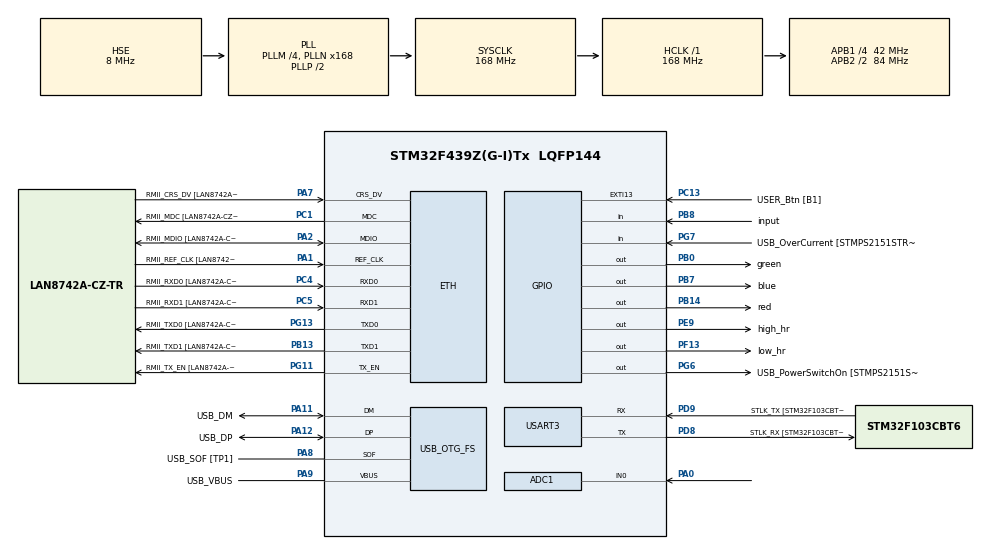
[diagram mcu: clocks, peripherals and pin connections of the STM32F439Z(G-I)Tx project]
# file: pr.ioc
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ADC1.Channel-0\#ChannelRegularConversion=ADC_CHANNEL_0
ADC1.ContinuousConvMode=ENABLE
ADC1.NbrOfConversionFlag=1
ADC1.Rank-0\#ChannelRegularConversion=1
ADC1.SamplingTime-0\#ChannelRegularConversion=ADC_SAMPLETIME_3CYCLES
ADC1.master=1
ETH.MediaInterface=HAL_ETH_RMII_MODE
ETH.PHY_Name=LAN8742A_PHY_ADDRESS
ETH.PHY_Value=0
ETH.PhyAddress=0
Mcu.Family=STM32F4
Mcu.Name=STM32F439Z(G-I)Tx
Mcu.Package=LQFP144
NVIC.OTG_FS_IRQn=true\:0\:0\:false\:false\:true\:false\:true\:true
NVIC.PriorityGroup=NVIC_PRIORITYGROUP_4
PA0/WKUP.Signal=ADCx_IN0
PA1.GPIO_Label=RMII_REF_CLK [LAN8742A-CZ-TR_REFCLK0]
PA1.Mode=RMII
PA1.Signal=ETH_REF_CLK
PA10.GPIO_Label=USB_ID
PA10.Signal=USB_OTG_FS_ID
PA11.GPIO_Label=USB_DM
PA11.Mode=Device_Only
PA11.Signal=USB_OTG_FS_DM
PA12.GPIO_Label=USB_DP
PA12.Mode=Device_Only
PA12.Signal=USB_OTG_FS_DP
PA13.GPIO_Label=TMS
PA13.Mode=Serial_Wire
PA13.Signal=SYS_JTMS-SWDIO
PA14.GPIO_Label=TCK
PA14.Mode=Serial_Wire
PA14.Signal=SYS_JTCK-SWCLK
PA2.GPIO_Label=RMII_MDIO [LAN8742A-CZ-TR_MDIO]
PA2.Mode=RMII
PA2.Signal=ETH_MDIO
PA7.GPIO_Label=RMII_CRS_DV [LAN8742A-CZ-TR_CRS_DV]
PA7.Mode=RMII
PA7.Signal=ETH_CRS_DV
PA8.GPIO_Label=USB_SOF [TP1]
PA8.Mode=Activate_SOF_FS
PA8.Signal=USB_OTG_FS_SOF
PA9.GPIO_Label=USB_VBUS
PA9.Mode=Activate_VBUS
PA9.Signal=USB_OTG_FS_VBUS
PB0.GPIO_Label=green
PB0.Signal=GPIO_Output
PB13.GPIO_Label=RMII_TXD1 [LAN8742A-CZ-TR_TXD1]
PB13.Mode=RMII
PB13.Signal=ETH_TXD1
PB14.GPIO_Label=red
PB14.Signal=GPIO_Output
PB7.GPIO_Label=blue
PB7.Signal=GPIO_Output
PB8.GPIO_Label=input
PB8.GPIO_PuPd=GPIO_PULLDOWN
PB8.Signal=GPIO_Input
PC1.GPIO_Label=RMII_MDC [LAN8742A-CZ-TR_MDC]
PC1.Mode=RMII
PC1.Signal=ETH_MDC
PC13.GPIO_Label=USER_Btn [B1]
PC13.Signal=GPXTI13
PC14/OSC32_IN.Mode=LSE-External-Oscillator
PC14/OSC32_IN.Signal=RCC_OSC32_IN
PC15/OSC32_OUT.Mode=LSE-External-Oscillator
PC15/OSC32_OUT.Signal=RCC_OSC32_OUT
PC4.GPIO_Label=RMII_RXD0 [LAN8742A-CZ-TR_RXD0]
PC4.Mode=RMII
PC4.Signal=ETH_RXD0
PC5.GPIO_Label=RMII_RXD1 [LAN8742A-CZ-TR_RXD1]
PC5.Mode=RMII
PC5.Signal=ETH_RXD1
PD8.GPIO_Label=STLK_RX [STM32F103CBT6_PA3]
PD8.Mode=Asynchronous
PD8.Signal=USART3_TX
PD9.GPIO_Label=STLK_TX [STM32F103CBT6_PA2]
PD9.Mode=Asynchronous
PD9.Signal=USART3_RX
PE9.GPIO_Label=high_hr
PE9.GPIO_PuPd=GPIO_PULLDOWN
PE9.Signal=GPIO_Output
PF13.GPIO_Label=low_hr
PF13.GPIO_PuPd=GPIO_PULLDOWN
PF13.Signal=GPIO_Output
PG11.GPIO_Label=RMII_TX_EN [LAN8742A-CZ-TR_TXEN]
PG11.Mode=RMII
PG11.Signal=ETH_TX_EN
PG13.GPIO_Label=RMII_TXD0 [LAN8742A-CZ-TR_TXD0]
PG13.Mode=RMII
PG13.Signal=ETH_TXD0
PG6.GPIO_Label=USB_PowerSwitchOn [STMPS2151STR_EN]
PG6.Signal=GPIO_Output
PG7.GPIO_Label=USB_OverCurrent [STMPS2151STR_FAULT]
PG7.Signal=GPIO_Input
PH0/OSC_IN.GPIO_Label=MCO [STM32F103CBT6_PA8]
PH0/OSC_IN.Mode=HSE-External-Clock-Source
PH0/OSC_IN.Signal=RCC_OSC_IN
PH1/OSC_OUT.Mode=HSE-External-Clock-Source
PH1/OSC_OUT.Signal=RCC_OSC_OUT
ProjectManager.HeapSize=0x200
ProjectManager.StackSize=0x400
ProjectManager.TargetToolchain=STM32CubeIDE
RCC.48MHZClocksFreq_Value=48000000
RCC.AHBFreq_Value=168000000
RCC.APB1CLKDivider=RCC_HCLK_DIV4
RCC.APB1Freq_Value=42000000
RCC.APB1TimFreq_Value=84000000
RCC.APB2CLKDivider=RCC_HCLK_DIV2
RCC.APB2Freq_Value=84000000
RCC.APB2TimCLKDivider=2
RCC.APB2TimFreq_Value=168000000
RCC.CortexFreq_Value=168000000
RCC.HCLKFreq_Value=168000000
RCC.HSE_VALUE=8000000
RCC.HSI_VALUE=16000000
RCC.PLLM=4
RCC.PLLMUL=RCC_PLL_MUL9
RCC.PLLN=168
RCC.PLLQ=7
RCC.PRESCALERUSB=RCC_USBCLKSOURCE_PLL_DIV1_5
RCC.SYSCLKFreq_VALUE=168000000
RCC.SYSCLKSource=RCC_SYSCLKSOURCE_PLLCLK
RCC.SYSCLKSourceVirtual=RCC_SYSCLKSOURCE_PLLCLK
RCC.USBFreq_Value=48000000
RCC.VCOOutputFreq_Value=336000000
SH.ADCx_IN0.0=ADC1_IN0,IN0
USART3.VirtualMode=VM_ASYNC
USB_DEVICE.CLASS_NAME_FS=CDC
USB_DEVICE.VirtualMode-CDC_FS=Cdc
USB_DEVICE.VirtualModeFS=Cdc_FS
USB_OTG_FS.VirtualMode=Device_Only
VP_USB_DEVICE_VS_USB_DEVICE_CDC_FS.Mode=CDC_FS
board=NUCLEO-F439ZI

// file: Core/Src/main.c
/* USER CODE BEGIN Header */
/**
 **********
 * @file           : main.c
 * @brief          : Main program body
 **********
 * @attention
 *
 * Copyright (c) 2023 STMicroelectronics.
 * All rights reserved.
 *
 * This software is licensed under terms that can be found in the LICENSE file
 * in the root directory of this software component.
 * If no LICENSE file comes with this software, it is provided AS-IS.
 *
 **********
 */
/* USER CODE END Header */
#include "main.h"
#include "string.h"
#include "usb_device.h"

/* USER CODE BEGIN Includes */
#include "usbd_cdc_if.h"
/* USER CODE END Includes */

ETH_TxPacketConfig TxConfig;
ETH_DMADescTypeDef DMARxDscrTab[ETH_RX_DESC_CNT]; /* Ethernet Rx DMA Descriptors */
ETH_DMADescTypeDef DMATxDscrTab[ETH_TX_DESC_CNT]; /* Ethernet Tx DMA Descriptors */

ADC_HandleTypeDef hadc1;

ETH_HandleTypeDef heth;

UART_HandleTypeDef huart3;

/* USER CODE BEGIN PV */
// Define ADC handle and configuration structures
ADC_HandleTypeDef hadc1;
ADC_ChannelConfTypeDef sConfig;
char buffer[10];

/* USER CODE END PV */

void SystemClock_Config(void);
static void MX_GPIO_Init(void);
static void MX_ETH_Init(void);
static void MX_USART3_UART_Init(void);
static void MX_ADC1_Init(void);

/* USER CODE BEGIN 0 */
float mmse(float x, float y, int n) {
	float sum = 0.0, diff;
	diff = x - y;
	return diff * diff;
	return sum / n;
}

/* USER CODE END 0 */

int main(void) {
	/* USER CODE BEGIN 1 */
	// Initialize HAL, clock, ADC and USB
	HAL_Init();
	SystemClock_Config();
	MX_ADC1_Init();
	MX_USB_DEVICE_Init();

	// Start ADC conversion
	HAL_ADC_Start(&hadc1);
	/* USER CODE END 1 */

	/* MCU Configuration--------------------------------------------------------*/

	/* Reset of all peripherals, Initializes the Flash interface and the Systick. */
	HAL_Init();

	/* Configure the system clock */
	SystemClock_Config();

	/* Initialize all configured peripherals */
	MX_GPIO_Init();
	MX_ETH_Init();
	MX_USART3_UART_Init();
	MX_ADC1_Init();
	MX_USB_DEVICE_Init();

	/* Infinite loop */
	/* USER CODE BEGIN WHILE */

	// used for collecting samples from sensor
	float beats[600] = { 0 };

	// heart rate of normal person
	float base[600] = { 80.00, 69.30, 69.00, 70.93, 72.87, 68.40, 71.33, 73.70,
			74.57, 71.80, 73.37, 71.27, 67.37, 69.43, 67.77, 72.60, 74.13,
			71.77, 70.97, 73.47, 71.20, 67.57, 69.93, 68.13, 66.47, 65.87,
			64.83, 64.20, 67.83, 65.90, 66.63, 64.73, 65.63, 65.60, 64.80,
			63.83, 65.43, 64.67, 63.93, 65.70, 66.30, 66.23, 65.00, 66.87,
			66.30, 64.23, 66.70, 66.47, 65.00, 64.57, 65.57, 62.67, 64.23,
			66.47, 62.73, 65.97, 65.63, 66.80, 64.30, 69.97, 64.33, 67.97,
			66.67, 65.40, 65.13, 67.47, 66.03, 64.67, 65.37, 64.77, 65.67,
			64.87, 69.57, 65.77, 64.20, 64.67, 66.77, 65.27, 66.73, 68.20,
			64.33, 65.63, 66.03, 65.23, 67.70, 68.17, 69.63, 67.43, 67.83,
			68.53, 67.90, 67.03, 68.80, 66.70, 66.63, 66.87, 66.07, 66.50,
			70.43, 68.83, 65.80, 66.37, 66.40, 67.70, 72.07, 70.77, 68.90,
			68.57, 67.40, 69.73, 68.13, 72.27, 71.23, 70.50, 69.90, 69.60,
			70.43, 71.20, 73.77, 67.93, 70.53, 70.47, 72.40, 71.67, 73.23,
			71.87, 70.87, 70.40, 72.97, 70.53, 73.23, 72.43, 73.33, 73.43,
			73.10, 74.03, 73.47, 74.33, 75.10, 75.13, 74.17, 75.67, 74.07,
			79.07, 75.07, 76.67, 76.70, 75.50, 77.57, 79.37, 79.10, 75.57,
			78.23, 77.53, 75.83, 76.80, 81.10, 75.43, 77.20, 78.37, 77.13,
			78.57, 81.07, 76.33, 78.40, 78.70, 76.83, 79.87, 79.50, 76.80,
			78.37, 80.50, 80.37, 83.03, 81.63, 80.77, 83.37, 84.00, 81.43,
			84.13, 81.07, 79.33, 78.83, 85.43, 81.07, 83.60, 76.63, 78.80,
			75.57, 76.90, 77.03, 78.50, 77.03, 74.80, 78.70, 76.07, 75.27,
			80.57, 75.37, 76.33, 76.30, 76.17, 75.97, 77.80, 75.80, 77.83,
			78.93, 78.00, 80.57, 82.40, 73.83, 77.80, 80.03, 79.13, 80.60,
			79.93, 77.50, 78.23, 80.13, 80.13, 81.40, 77.60, 76.60, 81.67,
			79.13, 78.03, 80.13, 75.07, 77.80, 75.77, 75.27, 79.07, 81.17,
			85.10, 81.73, 75.00, 74.70, 78.87, 77.47, 74.90, 73.27, 79.57,
			80.17, 82.27, 77.40, 81.20, 80.97, 79.13, 79.97, 83.57, 80.33,
			80.30, 80.73, 80.97, 79.73, 81.90, 78.70, 81.27, 79.27, 79.43,
			81.87, 81.50, 79.33, 78.47, 80.37, 79.63, 81.80, 82.70, 78.00,
			79.77, 80.70, 77.93, 79.83, 83.23, 79.57, 78.40, 81.17, 78.30,
			81.17, 83.00, 79.97, 81.73, 81.07, 82.97, 80.43, 84.33, 79.53,
			80.97, 79.47, 78.77, 80.20, 81.63, 78.87, 79.10, 80.13, 82.17,
			81.37, 78.47, 84.57, 80.33, 82.53, 83.47, 81.57, 81.07, 83.23,
			78.13, 80.57, 80.40, 79.73, 80.57, 83.27, 75.17, 83.00, 81.10,
			74.87, 85.50, 83.93, 77.03, 77.77, 78.80, 76.97, 81.17, 82.17,
			76.13, 82.23, 80.57, 78.73, 81.03, 83.10, 77.07, 79.80, 79.17,
			78.13, 82.03, 81.00, 79.30, 78.17, 78.30, 80.33, 79.83, 79.60,
			79.17, 81.33, 79.60, 80.27, 82.63, 79.60, 79.97, 78.93, 77.80,
			77.77, 80.03, 81.13, 79.17, 78.43, 80.03, 78.60, 80.33, 84.37,
			79.47, 83.87, 80.83, 79.50, 82.77, 84.93, 79.67, 79.93, 80.20,
			78.77, 80.10, 84.17, 78.80, 80.53, 80.00, 80.17, 81.80, 83.87,
			80.83, 79.00, 80.23, 81.40, 81.30, 81.20, 83.83, 76.07, 85.33,
			85.10, 84.00, 85.60, 89.83, 85.37, 83.50, 85.70, 84.87, 84.67,
			86.90, 87.17, 84.37, 85.87, 86.13, 83.63, 87.97, 83.10, 81.23,
			81.83, 83.47, 80.23, 81.23, 83.70, 79.97, 82.63, 81.00, 81.07,
			82.17, 82.70, 81.07, 81.50, 78.70, 80.70, 79.07, 81.33, 82.93,
			78.90, 81.87, 81.30, 80.43, 83.53, 85.50, 81.37, 83.30, 80.80,
			81.83, 82.47, 84.87, 81.63, 79.47, 83.30, 84.50, 82.93, 85.13,
			80.40, 80.60, 81.13, 80.47, 82.87, 80.87, 79.47, 81.90, 81.27,
			82.40, 81.20, 79.27, 77.93, 80.47, 80.13, 83.30, 78.13, 80.83,
			80.37, 81.93, 82.03, 82.27, 77.63, 76.87, 80.23, 78.83, 82.90,
			80.87, 79.10, 79.70, 79.40, 79.60, 79.53, 82.77, 78.93, 78.27,
			79.10, 81.63, 80.70, 84.50, 80.70, 79.73, 82.37, 80.97, 82.50,
			84.33, 84.83, 83.90, 83.33, 82.57, 79.33, 79.70, 83.63, 81.60,
			79.33, 79.73, 82.43, 81.27, 85.57, 81.17, 81.07, 82.30, 82.63,
			81.47, 83.03, 86.30, 82.13, 83.20, 83.83, 77.43, 84.57, 88.03,
			83.73, 84.83, 86.90, 85.33, 88.37, 90.90, 87.73, 84.03, 87.83,
			86.47, 85.80, 87.67, 86.20, 85.17, 85.70, 86.70, 85.33, 84.63,
			88.17, 86.43, 83.83, 84.63, 83.87, 85.33, 86.73, 86.33, 83.63,
			85.97, 85.17, 82.60, 83.37, 87.90, 85.37, 85.87, 84.80, 83.90,
			85.57, 85.97, 88.27, 88.03, 83.53, 84.17, 85.43, 86.63, 85.77,
			83.30, 86.37, 86.43, 84.03, 86.80, 84.77, 87.13, 86.27, 85.77,
			92.33, 93.60, 82.30, 85.60, 83.30, 84.10, 85.93, 84.67, 86.70,
			83.43, 85.07, 86.20, 84.47, 86.00, 84.17, 86.60, 87.10, 83.97,
			83.57, 85.20, 84.07, 84.47, 87.17, 87.10, 85.33, 84.17, 86.30,
			84.70, 86.10, 89.23, 84.37, 84.63, 84.30, 83.00 };
	while (1) {
		/* USER CODE END WHILE */

		/* USER CODE BEGIN 3 */
		while (HAL_GPIO_ReadPin(GPIOB, input_Pin) == 1) {
			HAL_GPIO_WritePin(GPIOB, blue_Pin, SET); // on when start reading

			int high = 0;  // to check for mmse

			int limit_cross_low = 0;  // to check how many values were <60
			int limit_cross_high = 0;    // to check how many values were >100

			int curr = 0;
			while (curr < 600 && HAL_GPIO_ReadPin(GPIOB, input_Pin) == 1) {

				HAL_ADC_Start(&hadc1); // start the adc
				HAL_ADC_PollForConversion(&hadc1, 100); // poll for conversion
				// Read analog value from ADC
				uint16_t value = HAL_ADC_GetValue(&hadc1);

				beats[curr] = (float) value;

				// checking for limit_crosses
				if (beats[curr] < 50.0) {
					limit_cross_low++;
				} else if (beats[curr] > 110.0) {
					limit_cross_high++;
				}

				// transmitting data to the serial terminal
				sprintf(buffer, "%d\n", value);
				CDC_Transmit_FS((uint8_t*) buffer, strlen(buffer));
				curr++;
				if (curr < 600) {
					HAL_Delay(100);
				}
			}

			HAL_GPIO_WritePin(GPIOB, blue_Pin, RESET);
			HAL_Delay(100);

			// for mmse matching
			int i = 0;
			while (i < 600 && HAL_GPIO_ReadPin(GPIOB, input_Pin) == 1) {
				float mmse_curr = mmse(base[curr], beats[curr], 600);
				if (mmse_curr > 10.0) {
					high++;
				}
				i++;
			}

			if (HAL_GPIO_ReadPin(GPIOB, input_Pin) == 1) {
				// result of mmse calculation
				if (high > 50) {
					HAL_GPIO_WritePin(GPIOB, red_Pin, SET);
					HAL_GPIO_WritePin(GPIOB, green_Pin, RESET);
					HAL_GPIO_WritePin(GPIOB, blue_Pin, RESET);
				} else {
					HAL_GPIO_WritePin(GPIOB, green_Pin, SET);
					HAL_GPIO_WritePin(GPIOB, red_Pin, RESET);
					HAL_GPIO_WritePin(GPIOB, blue_Pin, RESET);
				}

				// result of threshold calculation
				if (limit_cross_low > 10) {
					HAL_GPIO_WritePin(GPIOF, low_hr_Pin, SET);
					HAL_GPIO_WritePin(GPIOE, high_hr_Pin, RESET);
				}
				if (limit_cross_high > 10) {
					HAL_GPIO_WritePin(GPIOE, high_hr_Pin, SET);
					HAL_GPIO_WritePin(GPIOF, low_hr_Pin, RESET);
				}

				HAL_Delay(10000);
				HAL_GPIO_WritePin(GPIOB, red_Pin, RESET);
				HAL_GPIO_WritePin(GPIOB, green_Pin, RESET);
				HAL_GPIO_WritePin(GPIOB, blue_Pin, RESET);
				HAL_GPIO_WritePin(GPIOF, low_hr_Pin, RESET);
				HAL_GPIO_WritePin(GPIOE, high_hr_Pin, RESET);
			}

		}

		// if enable is disconnected, resetting all LEDs
		HAL_GPIO_WritePin(GPIOB, red_Pin, RESET);
		HAL_GPIO_WritePin(GPIOB, green_Pin, RESET);
		HAL_GPIO_WritePin(GPIOB, blue_Pin, RESET);
		HAL_GPIO_WritePin(GPIOF, low_hr_Pin, RESET);
		HAL_GPIO_WritePin(GPIOE, high_hr_Pin, RESET);
	}

	/* USER CODE END 3 */
}

void SystemClock_Config(void) {
	RCC_OscInitTypeDef RCC_OscInitStruct = { 0 };
	RCC_ClkInitTypeDef RCC_ClkInitStruct = { 0 };

	/** Configure the main internal regulator output voltage
	 */
	__HAL_RCC_PWR_CLK_ENABLE();
	__HAL_PWR_VOLTAGESCALING_CONFIG(PWR_REGULATOR_VOLTAGE_SCALE1);

	/** Initializes the RCC Oscillators according to the specified parameters
	 * in the RCC_OscInitTypeDef structure.
	 */
	RCC_OscInitStruct.OscillatorType = RCC_OSCILLATORTYPE_HSE;
	RCC_OscInitStruct.HSEState = RCC_HSE_BYPASS;
	RCC_OscInitStruct.PLL.PLLState = RCC_PLL_ON;
	RCC_OscInitStruct.PLL.PLLSource = RCC_PLLSOURCE_HSE;
	RCC_OscInitStruct.PLL.PLLM = 4;
	RCC_OscInitStruct.PLL.PLLN = 168;
	RCC_OscInitStruct.PLL.PLLP = RCC_PLLP_DIV2;
	RCC_OscInitStruct.PLL.PLLQ = 7;
	if (HAL_RCC_OscConfig(&RCC_OscInitStruct) != HAL_OK) {
		Error_Handler();
	}

	/** Initializes the CPU, AHB and APB buses clocks
	 */
	RCC_ClkInitStruct.ClockType = RCC_CLOCKTYPE_HCLK | RCC_CLOCKTYPE_SYSCLK
			| RCC_CLOCKTYPE_PCLK1 | RCC_CLOCKTYPE_PCLK2;
	RCC_ClkInitStruct.SYSCLKSource = RCC_SYSCLKSOURCE_PLLCLK;
	RCC_ClkInitStruct.AHBCLKDivider = RCC_SYSCLK_DIV1;
	RCC_ClkInitStruct.APB1CLKDivider = RCC_HCLK_DIV4;
	RCC_ClkInitStruct.APB2CLKDivider = RCC_HCLK_DIV2;

	if (HAL_RCC_ClockConfig(&RCC_ClkInitStruct, FLASH_LATENCY_5) != HAL_OK) {
		Error_Handler();
	}
}

static void MX_ADC1_Init(void) {

	ADC_ChannelConfTypeDef sConfig = { 0 };

	/* USER CODE BEGIN ADC1_Init 1 */
	// Initialize ADC handle and configuration structures
	hadc1.Instance = ADC1;
	hadc1.Init.ClockPrescaler = ADC_CLOCK_SYNC_PCLK_DIV2;
	hadc1.Init.Resolution = ADC_RESOLUTION_12B;
	hadc1.Init.ScanConvMode = DISABLE;
	hadc1.Init.ContinuousConvMode = ENABLE;
	hadc1.Init.DiscontinuousConvMode = DISABLE;
	hadc1.Init.NbrOfDiscConversion = 0;
	hadc1.Init.ExternalTrigConvEdge = ADC_EXTERNALTRIGCONVEDGE_NONE;
	hadc1.Init.ExternalTrigConv = ADC_SOFTWARE_START;
	hadc1.Init.DataAlign = ADC_DATAALIGN_RIGHT;
	hadc1.Init.NbrOfConversion = 1;
	hadc1.Init.DMAContinuousRequests = DISABLE;
	hadc1.Init.EOCSelection = ADC_EOC_SINGLE_CONV;
	// Initialize ADC channel configuration structure
	sConfig.Channel = ADC_CHANNEL_0;
	sConfig.Rank = 1;
	sConfig.SamplingTime = ADC_SAMPLETIME_3CYCLES;
	sConfig.Offset = 0;

	// Configure ADC and ADC channel
	if (HAL_ADC_Init(&hadc1) != HAL_OK) {
		Error_Handler();
	}
	if (HAL_ADC_ConfigChannel(&hadc1, &sConfig) != HAL_OK) {
		Error_Handler();
	}

	/* USER CODE END ADC1_Init 1 */

	/** Configure the global features of the ADC (Clock, Resolution, Data Alignment and number of conversion)
	 */
	hadc1.Instance = ADC1;
	hadc1.Init.ClockPrescaler = ADC_CLOCK_SYNC_PCLK_DIV4;
	hadc1.Init.Resolution = ADC_RESOLUTION_12B;
	hadc1.Init.ScanConvMode = DISABLE;
	hadc1.Init.ContinuousConvMode = ENABLE;
	hadc1.Init.DiscontinuousConvMode = DISABLE;
	hadc1.Init.ExternalTrigConvEdge = ADC_EXTERNALTRIGCONVEDGE_NONE;
	hadc1.Init.ExternalTrigConv = ADC_SOFTWARE_START;
	hadc1.Init.DataAlign = ADC_DATAALIGN_RIGHT;
	hadc1.Init.NbrOfConversion = 1;
	hadc1.Init.DMAContinuousRequests = DISABLE;
	hadc1.Init.EOCSelection = ADC_EOC_SINGLE_CONV;
	if (HAL_ADC_Init(&hadc1) != HAL_OK) {
		Error_Handler();
	}

	/** Configure for the selected ADC regular channel its corresponding rank in the sequencer and its sample time.
	 */
	sConfig.Channel = ADC_CHANNEL_0;
	sConfig.Rank = 1;
	sConfig.SamplingTime = ADC_SAMPLETIME_3CYCLES;
	if (HAL_ADC_ConfigChannel(&hadc1, &sConfig) != HAL_OK) {
		Error_Handler();
	}

}

static void MX_ETH_Init(void) {

	static uint8_t MACAddr[6];

	heth.Instance = ETH;
	MACAddr[0] = 0x00;
	MACAddr[1] = 0x80;
	MACAddr[2] = 0xE1;
	MACAddr[3] = 0x00;
	MACAddr[4] = 0x00;
	MACAddr[5] = 0x00;
	heth.Init.MACAddr = &MACAddr[0];
	heth.Init.MediaInterface = HAL_ETH_RMII_MODE;
	heth.Init.TxDesc = DMATxDscrTab;
	heth.Init.RxDesc = DMARxDscrTab;
	heth.Init.RxBuffLen = 1524;

	if (HAL_ETH_Init(&heth) != HAL_OK) {
		Error_Handler();
	}

	memset(&TxConfig, 0, sizeof(ETH_TxPacketConfig));
	TxConfig.Attributes = ETH_TX_PACKETS_FEATURES_CSUM
			| ETH_TX_PACKETS_FEATURES_CRCPAD;
	TxConfig.ChecksumCtrl = ETH_CHECKSUM_IPHDR_PAYLOAD_INSERT_PHDR_CALC;
	TxConfig.CRCPadCtrl = ETH_CRC_PAD_INSERT;

}

static void MX_USART3_UART_Init(void) {

	huart3.Instance = USART3;
	huart3.Init.BaudRate = 115200;
	huart3.Init.WordLength = UART_WORDLENGTH_8B;
	huart3.Init.StopBits = UART_STOPBITS_1;
	huart3.Init.Parity = UART_PARITY_NONE;
	huart3.Init.Mode = UART_MODE_TX_RX;
	huart3.Init.HwFlowCtl = UART_HWCONTROL_NONE;
	huart3.Init.OverSampling = UART_OVERSAMPLING_16;
	if (HAL_UART_Init(&huart3) != HAL_OK) {
		Error_Handler();
	}

}

static void MX_GPIO_Init(void) {
	GPIO_InitTypeDef GPIO_InitStruct = { 0 };

	/* GPIO Ports Clock Enable */
	__HAL_RCC_GPIOC_CLK_ENABLE();
	__HAL_RCC_GPIOH_CLK_ENABLE();
	__HAL_RCC_GPIOA_CLK_ENABLE();
	__HAL_RCC_GPIOB_CLK_ENABLE();
	__HAL_RCC_GPIOF_CLK_ENABLE();
	__HAL_RCC_GPIOE_CLK_ENABLE();
	__HAL_RCC_GPIOD_CLK_ENABLE();
	__HAL_RCC_GPIOG_CLK_ENABLE();

	/*Configure GPIO pin Output Level */
	HAL_GPIO_WritePin(GPIOB, green_Pin | red_Pin | blue_Pin, GPIO_PIN_RESET);

	/*Configure GPIO pin Output Level */
	HAL_GPIO_WritePin(low_hr_GPIO_Port, low_hr_Pin, GPIO_PIN_RESET);

	/*Configure GPIO pin Output Level */
	HAL_GPIO_WritePin(high_hr_GPIO_Port, high_hr_Pin, GPIO_PIN_RESET);

	/*Configure GPIO pin Output Level */
	HAL_GPIO_WritePin(USB_PowerSwitchOn_GPIO_Port, USB_PowerSwitchOn_Pin,
			GPIO_PIN_RESET);

	/*Configure GPIO pin : USER_Btn_Pin */
	GPIO_InitStruct.Pin = USER_Btn_Pin;
	GPIO_InitStruct.Mode = GPIO_MODE_IT_RISING;
	GPIO_InitStruct.Pull = GPIO_NOPULL;
	HAL_GPIO_Init(USER_Btn_GPIO_Port, &GPIO_InitStruct);

	/*Configure GPIO pins : green_Pin red_Pin blue_Pin */
	GPIO_InitStruct.Pin = green_Pin | red_Pin | blue_Pin;
	GPIO_InitStruct.Mode = GPIO_MODE_OUTPUT_PP;
	GPIO_InitStruct.Pull = GPIO_NOPULL;
	GPIO_InitStruct.Speed = GPIO_SPEED_FREQ_LOW;
	HAL_GPIO_Init(GPIOB, &GPIO_InitStruct);

	/*Configure GPIO pin : low_hr_Pin */
	GPIO_InitStruct.Pin = low_hr_Pin;
	GPIO_InitStruct.Mode = GPIO_MODE_OUTPUT_PP;
	GPIO_InitStruct.Pull = GPIO_PULLDOWN;
	GPIO_InitStruct.Speed = GPIO_SPEED_FREQ_LOW;
	HAL_GPIO_Init(low_hr_GPIO_Port, &GPIO_InitStruct);

	/*Configure GPIO pin : high_hr_Pin */
	GPIO_InitStruct.Pin = high_hr_Pin;
	GPIO_InitStruct.Mode = GPIO_MODE_OUTPUT_PP;
	GPIO_InitStruct.Pull = GPIO_PULLDOWN;
	GPIO_InitStruct.Speed = GPIO_SPEED_FREQ_LOW;
	HAL_GPIO_Init(high_hr_GPIO_Port, &GPIO_InitStruct);

	/*Configure GPIO pin : USB_PowerSwitchOn_Pin */
	GPIO_InitStruct.Pin = USB_PowerSwitchOn_Pin;
	GPIO_InitStruct.Mode = GPIO_MODE_OUTPUT_PP;
	GPIO_InitStruct.Pull = GPIO_NOPULL;
	GPIO_InitStruct.Speed = GPIO_SPEED_FREQ_LOW;
	HAL_GPIO_Init(USB_PowerSwitchOn_GPIO_Port, &GPIO_InitStruct);

	/*Configure GPIO pin : USB_OverCurrent_Pin */
	GPIO_InitStruct.Pin = USB_OverCurrent_Pin;
	GPIO_InitStruct.Mode = GPIO_MODE_INPUT;
	GPIO_InitStruct.Pull = GPIO_NOPULL;
	HAL_GPIO_Init(USB_OverCurrent_GPIO_Port, &GPIO_InitStruct);

	/*Configure GPIO pin : input_Pin */
	GPIO_InitStruct.Pin = input_Pin;
	GPIO_InitStruct.Mode = GPIO_MODE_INPUT;
	GPIO_InitStruct.Pull = GPIO_PULLDOWN;
	HAL_GPIO_Init(input_GPIO_Port, &GPIO_InitStruct);

}

void Error_Handler(void) {
	__disable_irq();
	while (1) {
	}
}
